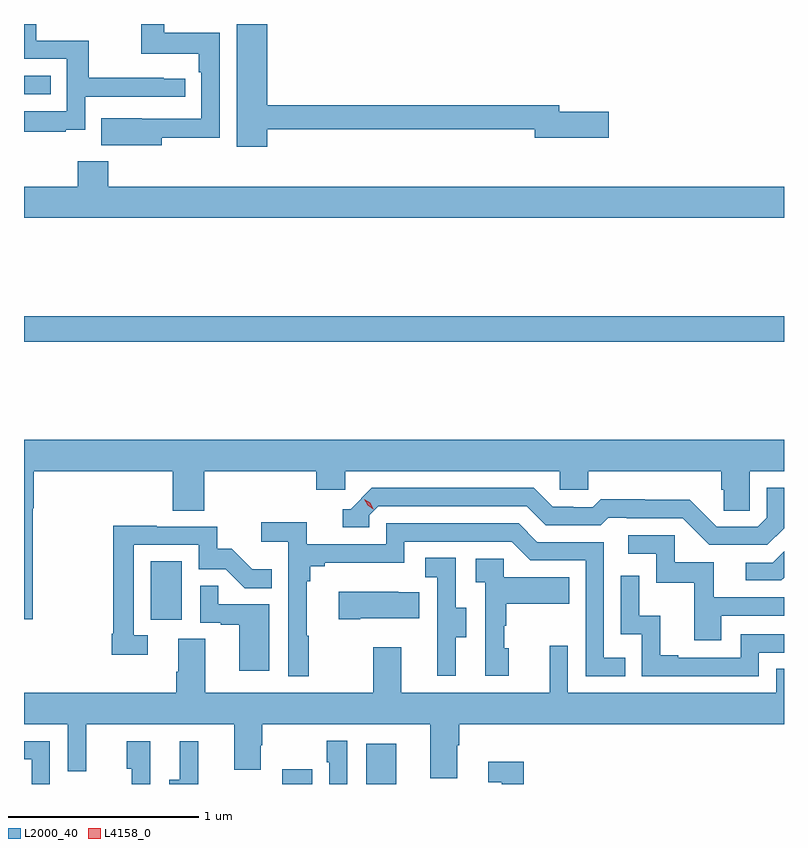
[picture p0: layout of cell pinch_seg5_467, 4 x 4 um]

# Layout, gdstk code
import gdstk
lib = gdstk.Library(unit=1e-6, precision=1e-09)
def R(c, l, rs):  # rectangles x0, y0, x1, y1
    for r in rs: c.add(gdstk.rectangle(r[:2], r[2:], *l))
def P(c, l, *ps):  # polygons
    for p in ps: c.add(gdstk.Polygon(p, *l))
L2000_40 = (2000, 40)
L4158_0 = (4158, 0)

pinch_seg5_467 = lib.new_cell('pinch_seg5_467')
R(pinch_seg5_467, L2000_40, [(913.487,856.445,913.645,856.522), (913.928,856.445,914.086,856.657), (912.794,857.31,912.958,857.617), (912.128,858.772,916.128,858.908), (912.128,860.076,912.269,860.172)])
P(pinch_seg5_467, L2000_40, [(913.408,859.89),(914.816,859.89),(914.816,859.847),(915.205,859.847),(915.205,859.982),(914.944,859.982),(914.944,860.018),(913.408,860.018),(913.408,860.445),(913.247,860.445),(913.247,859.8),(913.408,859.8)],
  [(912.347,859.889),(912.45,859.889),(912.45,860.061),(912.976,860.061),(912.976,860.157),(912.863,860.157),(912.863,860.162),(912.47,860.162),(912.47,860.358),(912.193,860.358),(912.193,860.445),(912.128,860.445),(912.128,860.262),(912.354,860.262),(912.354,859.986),(912.128,859.986),(912.128,859.878),(912.347,859.878)],
  [(912.853,859.846),(913.158,859.846),(913.158,860.398),(912.865,860.398),(912.865,860.445),(912.547,860.445),(912.547,860.443),(912.744,860.443),(912.744,860.288),(913.049,860.288),(913.049,860.192),(913.062,860.192),(913.062,859.947),(912.749,859.947),(912.749,859.948),(912.535,859.948),(912.535,859.808),(912.853,859.808)],
  [(916.128,859.588),(912.572,859.588),(912.572,859.723),(912.412,859.723),(912.412,859.588),(912.128,859.588),(912.128,859.424),(916.128,859.424)],
  [(912.128,857.313),(912.174,857.313),(912.174,857.896),(912.179,857.896),(912.179,858.092),(912.911,858.092),(912.911,857.884),(913.076,857.884),(913.076,858.092),(913.667,858.092),(913.667,857.994),(913.818,857.994),(913.818,858.092),(914.949,858.092),(914.949,857.994),(915.099,857.994),(915.099,858.092),(915.797,858.092),(915.797,857.994),(915.811,857.994),(915.811,857.884),(915.948,857.884),(915.948,858.092),(916.128,858.092),(916.128,858.256),(912.128,858.256)],
  [(916.128,857.79),(916.128,858.003),(916.038,858.003),(916.038,857.847),(915.99,857.799),(915.774,857.799),(915.632,857.941),(915.396,857.941),(915.396,857.944),(915.163,857.944),(915.121,857.901),(915.018,857.901),(915.018,857.904),(914.911,857.904),(914.812,858.003),(913.959,858.003),(913.848,857.892),(913.805,857.892),(913.805,857.796),(913.944,857.796),(913.944,857.859),(913.992,857.907),(914.775,857.907),(914.874,857.808),(915.163,857.808),(915.202,857.847),(915.301,857.847),(915.301,857.844),(915.594,857.844),(915.735,857.703),(916.041,857.703)],
  [(913.627,857.225),(913.615,857.225),(913.615,857.513),(913.634,857.513),(913.634,857.59),(913.711,857.59),(913.711,857.609),(914.13,857.609),(914.13,857.721),(914.694,857.721),(914.793,857.622),(915.084,857.622),(915.084,857.013),(915.293,857.013),(915.293,857.109),(915.18,857.109),(915.18,857.718),(914.83,857.718),(914.731,857.817),(914.034,857.817),(914.034,857.706),(913.616,857.706),(913.616,857.822),(913.377,857.822),(913.377,857.72),(913.518,857.72),(913.518,857.013),(913.627,857.013)],
  [(912.778,857.229),(912.705,857.229),(912.705,857.703),(913.047,857.703),(913.047,857.574),(913.191,857.574),(913.289,857.476),(913.433,857.476),(913.433,857.575),(913.329,857.575),(913.222,857.682),(913.146,857.682),(913.146,857.799),(912.827,857.799),(912.827,857.804),(912.597,857.804),(912.597,857.236),(912.589,857.236),(912.589,857.124),(912.778,857.124)],
  [(915.799,857.331),(916.128,857.331),(916.128,857.427),(915.757,857.427),(915.757,857.613),(915.552,857.613),(915.552,857.754),(915.309,857.754),(915.309,857.658),(915.456,857.658),(915.456,857.505),(915.655,857.505),(915.655,857.202),(915.799,857.202)],
  [(916.128,857.531),(916.128,857.67),(916.068,857.61),(915.927,857.61),(915.927,857.517),(916.114,857.517)],
  [(914.401,857.218),(914.455,857.218),(914.455,857.373),(914.4,857.373),(914.4,857.636),(914.241,857.636),(914.241,857.533),(914.304,857.533),(914.304,857.229),(914.303,857.229),(914.303,857.016),(914.401,857.016)],
  [(914.68,857.16),(914.655,857.16),(914.655,857.279),(914.665,857.279),(914.665,857.393),(914.999,857.393),(914.999,857.533),(914.652,857.533),(914.652,857.631),(914.505,857.631),(914.505,857.507),(914.556,857.507),(914.556,857.016),(914.68,857.016)],
  [(915.996,857.136),(916.128,857.136),(916.128,857.232),(915.9,857.232),(915.9,857.109),(915.571,857.109),(915.571,857.122),(915.476,857.122),(915.476,857.33),(915.366,857.33),(915.366,857.542),(915.27,857.542),(915.27,857.232),(915.378,857.232),(915.378,857.013),(915.996,857.013)],
  [(913.42,857.391),(913.151,857.391),(913.151,857.489),(913.056,857.489),(913.056,857.295),(913.163,857.295),(913.163,857.283),(913.262,857.283),(913.262,857.04),(913.42,857.04)],
  [(913.897,857.318),(914.207,857.318),(914.207,857.455),(914.099,857.455),(914.099,857.458),(913.785,857.458),(913.785,857.311),(913.897,857.311)],
  [(914.407,856.648),(914.42,856.648),(914.42,856.76),(916.128,856.76),(916.128,857.051),(916.086,857.051),(916.086,856.924),(914.991,856.924),(914.991,857.173),(914.894,857.173),(914.894,856.924),(914.113,856.924),(914.113,857.164),(913.966,857.164),(913.966,856.924),(913.081,856.924),(913.081,857.21),(912.941,857.21),(912.941,857.036),(912.929,857.036),(912.929,856.924),(912.128,856.924),(912.128,856.76),(912.357,856.76),(912.357,856.512),(912.455,856.512),(912.455,856.76),(913.235,856.76),(913.235,856.521),(913.375,856.521),(913.375,856.649),(913.383,856.649),(913.383,856.76),(914.267,856.76),(914.267,856.474),(914.407,856.474)],
  [(913.83,856.672),(913.722,856.672),(913.722,856.559),(913.734,856.559),(913.734,856.445),(913.83,856.445)],
  [(912.264,856.671),(912.128,856.671),(912.128,856.575),(912.168,856.575),(912.168,856.445),(912.264,856.445)],
  [(913.044,856.455),(913.046,856.455),(913.046,856.669),(912.947,856.669),(912.947,856.467),(912.893,856.467),(912.893,856.445),(913.044,856.445)],
  [(912.792,856.669),(912.668,856.669),(912.668,856.524),(912.694,856.524),(912.694,856.445),(912.792,856.445)],
  [(914.759,856.561),(914.571,856.561),(914.571,856.455),(914.643,856.455),(914.643,856.445),(914.759,856.445)])
P(pinch_seg5_467, L4158_0, [(913.966,857.892),(913.936,857.912),(913.92,857.944),(913.92,857.945),(913.92,857.945),(913.951,857.925),(913.967,857.892),(913.967,857.892)])

lib.write_gds('pinch_seg5_467.gds')
